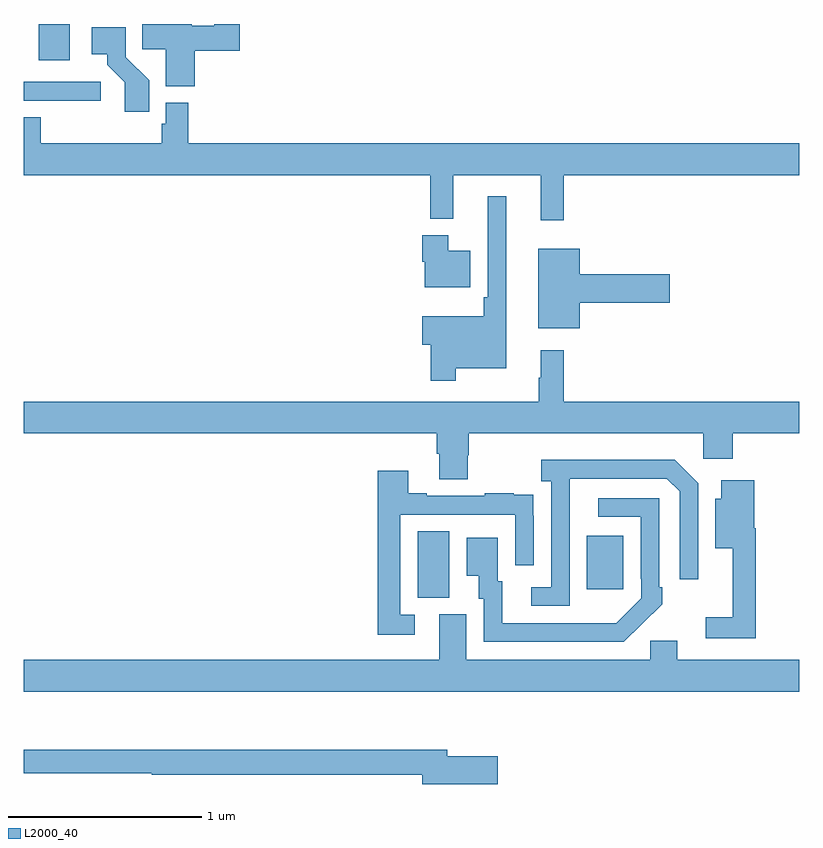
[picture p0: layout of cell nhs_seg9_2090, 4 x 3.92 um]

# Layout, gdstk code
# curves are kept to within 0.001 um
import gdstk
lib = gdstk.Library(unit=1e-6, precision=1e-09)
def R(c, l, rs):  # rectangles x0, y0, x1, y1
    for r in rs: c.add(gdstk.rectangle(r[:2], r[2:], *l))
def P(c, l, *ps):  # polygons
    for p in ps: c.add(gdstk.Polygon(p, *l))
L2000_40 = (2000, 40)

nhs_seg9_2090 = lib.new_cell('nhs_seg9_2090')
R(nhs_seg9_2090, L2000_40, [(231.032,1227.541,231.196,1227.884), (231.905,1227.585,232.093,1227.859), (229.076,1230.312,229.237,1230.5)])
P(nhs_seg9_2090, L2000_40, [(229.883,1230.361),(230.113,1230.361),(230.113,1230.5),(229.983,1230.5),(229.983,1230.49),(229.866,1230.49),(229.866,1230.5),(229.612,1230.5),(229.612,1230.37),(229.733,1230.37),(229.733,1230.179),(229.883,1230.179)],
  [(229.646,1230.21),(229.527,1230.329),(229.527,1230.484),(229.35,1230.484),(229.35,1230.344),(229.43,1230.344),(229.43,1230.289),(229.521,1230.199),(229.521,1230.048),(229.646,1230.048)],
  [(229.396,1230.201),(229,1230.201),(229,1230.105),(229.171,1230.105),(229.171,1230.103),(229.396,1230.103)],
  [(231.785,1229.72),(233,1229.72),(233,1229.884),(229.847,1229.884),(229.847,1230.094),(229.731,1230.094),(229.731,1229.985),(229.711,1229.985),(229.711,1229.884),(229.088,1229.884),(229.088,1230.02),(229,1230.02),(229,1229.72),(231.097,1229.72),(231.097,1229.495),(231.215,1229.495),(231.215,1229.72),(231.668,1229.72),(231.668,1229.487),(231.785,1229.487)],
  [(231.229,1228.724),(231.49,1228.724),(231.49,1229.611),(231.393,1229.611),(231.393,1229.089),(231.373,1229.089),(231.373,1228.993),(231.056,1228.993),(231.056,1228.846),(231.1,1228.846),(231.1,1228.659),(231.229,1228.659)],
  [(231.304,1229.329),(231.19,1229.329),(231.19,1229.41),(231.056,1229.41),(231.056,1229.274),(231.068,1229.274),(231.068,1229.141),(231.304,1229.141)],
  [(231.868,1229.063),(232.333,1229.063),(232.333,1229.21),(231.868,1229.21),(231.868,1229.341),(231.653,1229.341),(231.653,1228.931),(231.868,1228.931)],
  [(231.291,1228.275),(231.296,1228.275),(231.296,1228.388),(232.506,1228.388),(232.506,1228.257),(232.658,1228.257),(232.658,1228.388),(233,1228.388),(233,1228.552),(231.785,1228.552),(231.785,1228.816),(231.668,1228.816),(231.668,1228.676),(231.657,1228.676),(231.657,1228.552),(229,1228.552),(229,1228.388),(231.131,1228.388),(231.131,1228.282),(231.143,1228.282),(231.143,1228.15),(231.291,1228.15)],
  [(231.816,1227.955),(231.817,1228.155),(232.317,1228.155),(232.383,1228.089),(232.383,1227.636),(232.479,1227.636),(232.479,1228.131),(232.358,1228.252),(231.669,1228.252),(231.669,1228.142),(231.72,1228.142),(231.72,1227.594),(231.618,1227.594),(231.618,1227.498),(231.816,1227.498)],
  [(231.016,1227.453),(230.943,1227.453),(230.943,1227.969),(231.534,1227.969),(231.534,1227.708),(231.63,1227.708),(231.63,1227.962),(231.629,1227.962),(231.629,1228.071),(231.527,1228.071),(231.527,1228.078),(231.379,1228.078),(231.379,1228.065),(231.079,1228.065),(231.079,1228.078),(230.983,1228.078),(230.983,1228.195),(230.827,1228.195),(230.827,1227.348),(231.016,1227.348)],
  [(232.775,1227.898),(232.769,1227.898),(232.769,1228.147),(232.598,1228.147),(232.598,1228.051),(232.568,1228.051),(232.568,1227.794),(232.658,1227.794),(232.658,1227.439),(232.518,1227.439),(232.518,1227.33),(232.775,1227.33)],
  [(232.187,1227.403),(232.188,1227.402),(232.293,1227.507),(232.293,1227.595),(232.278,1227.595),(232.278,1228.053),(231.963,1228.053),(231.963,1227.957),(232.182,1227.957),(232.182,1227.637),(232.185,1227.637),(232.185,1227.537),(232.057,1227.409),(231.469,1227.408),(231.469,1227.624),(231.445,1227.624),(231.445,1227.85),(231.284,1227.85),(231.284,1227.653),(231.347,1227.653),(231.347,1227.534),(231.372,1227.534),(231.372,1227.312),(232.096,1227.312)],
  [(233,1227.22),(232.372,1227.22),(232.372,1227.318),(232.233,1227.318),(232.233,1227.22),(231.283,1227.22),(231.283,1227.456),(231.143,1227.456),(231.143,1227.22),(229,1227.22),(229,1227.056),(233,1227.056)],
  [(231.445,1226.721),(231.184,1226.721),(231.184,1226.755),(229,1226.755),(229,1226.634),(229.66,1226.634),(229.66,1226.626),(231.056,1226.626),(231.056,1226.579),(231.445,1226.579)])

lib.write_gds('nhs_seg9_2090.gds')
